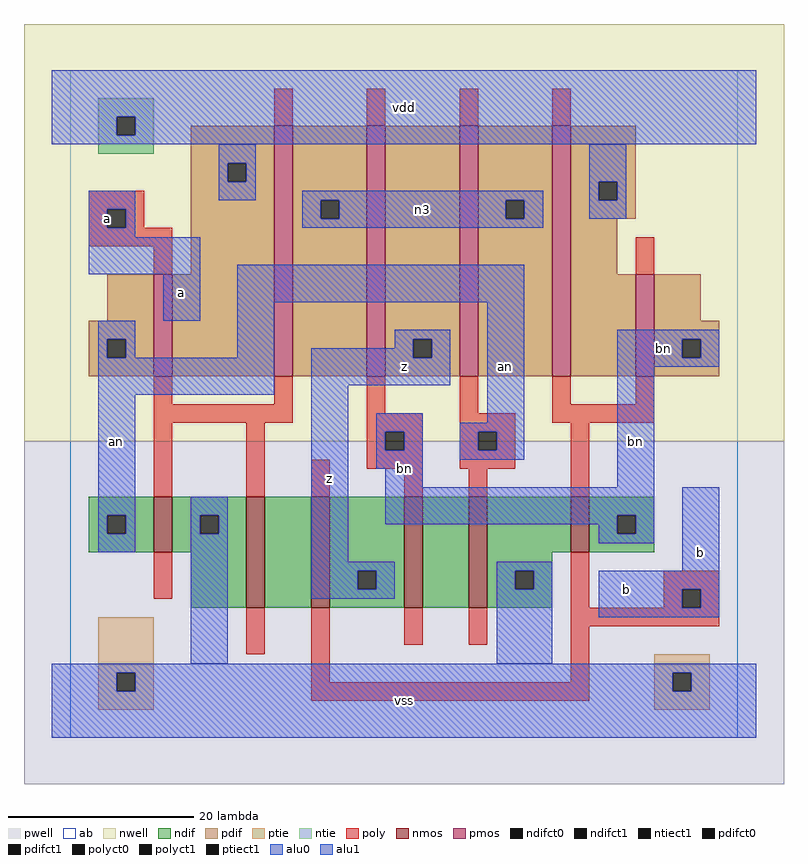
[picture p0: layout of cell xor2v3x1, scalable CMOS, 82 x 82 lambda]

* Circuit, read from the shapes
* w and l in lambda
.subckt xor2v3x1 a an b bn n3 vdd vss z
M1 vss a an vss nfet w=6 l=2
M2 n1 a vss vss nfet w=12 l=2
M3 z b n1 vss nfet w=12 l=2
M4 n2 bn z vss nfet w=12 l=2
M5 vss an n2 vss nfet w=12 l=2
M6 bn b vss vss nfet w=6 l=2
M7 vdd a an vdd pfet w=11 l=2
M8 n3 a vdd vdd pfet w=27 l=2
M9 z bn n3 vdd pfet w=27 l=2
M10 n3 an z vdd pfet w=27 l=2
M11 vdd b n3 vdd pfet w=27 l=2
M12 bn b vdd vdd pfet w=11 l=2
.ends

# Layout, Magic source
magic
tech scmos
<< ab >>
rect 0 0 72 72
<< nwell >>
rect -5 32 77 77
<< pwell >>
rect -5 -5 77 32
<< poly >>
rect 22 66 24 70
rect 32 66 34 70
rect 42 66 44 70
rect 52 66 54 70
rect 2 57 8 59
rect 2 55 4 57
rect 6 55 8 57
rect 2 53 11 55
rect 9 50 11 53
rect 61 50 63 54
rect 9 36 11 39
rect 22 36 24 39
rect 9 34 24 36
rect 32 35 34 39
rect 42 35 44 39
rect 52 36 54 39
rect 61 36 63 39
rect 9 26 11 34
rect 19 26 21 34
rect 32 33 38 35
rect 32 31 34 33
rect 36 31 38 33
rect 26 26 28 30
rect 32 29 38 31
rect 42 33 48 35
rect 52 34 63 36
rect 42 31 44 33
rect 46 31 48 33
rect 42 29 48 31
rect 36 26 38 29
rect 43 26 45 29
rect 54 26 56 34
rect 9 15 11 20
rect 54 14 56 20
rect 64 16 70 18
rect 64 14 66 16
rect 68 14 70 16
rect 19 9 21 14
rect 26 6 28 14
rect 36 10 38 14
rect 43 10 45 14
rect 54 12 70 14
rect 54 6 56 12
rect 26 4 56 6
<< ndif >>
rect 2 24 9 26
rect 2 22 4 24
rect 6 22 9 24
rect 2 20 9 22
rect 11 24 19 26
rect 11 22 14 24
rect 16 22 19 24
rect 11 20 19 22
rect 13 14 19 20
rect 21 14 26 26
rect 28 18 36 26
rect 28 16 31 18
rect 33 16 36 18
rect 28 14 36 16
rect 38 14 43 26
rect 45 20 54 26
rect 56 24 63 26
rect 56 22 59 24
rect 61 22 63 24
rect 56 20 63 22
rect 45 18 52 20
rect 45 16 48 18
rect 50 16 52 18
rect 45 14 52 16
<< pdif >>
rect 13 62 22 66
rect 13 60 17 62
rect 19 60 22 62
rect 13 50 22 60
rect 4 45 9 50
rect 2 43 9 45
rect 2 41 4 43
rect 6 41 9 43
rect 2 39 9 41
rect 11 39 22 50
rect 24 58 32 66
rect 24 56 27 58
rect 29 56 32 58
rect 24 39 32 56
rect 34 43 42 66
rect 34 41 37 43
rect 39 41 42 43
rect 34 39 42 41
rect 44 58 52 66
rect 44 56 47 58
rect 49 56 52 58
rect 44 39 52 56
rect 54 60 61 66
rect 54 58 57 60
rect 59 58 61 60
rect 54 56 61 58
rect 54 50 59 56
rect 54 39 61 50
rect 63 45 68 50
rect 63 43 70 45
rect 63 41 66 43
rect 68 41 70 43
rect 63 39 70 41
<< alu1 >>
rect -2 67 74 72
rect -2 65 5 67
rect 7 65 74 67
rect -2 64 74 65
rect 2 57 7 59
rect 2 55 4 57
rect 6 55 7 57
rect 2 54 7 55
rect 2 50 14 54
rect 10 45 14 50
rect 35 43 41 44
rect 35 42 37 43
rect 26 41 37 42
rect 39 41 41 43
rect 26 38 41 41
rect 26 19 30 38
rect 26 18 35 19
rect 26 16 31 18
rect 33 16 35 18
rect 26 15 35 16
rect 66 18 70 27
rect 57 16 70 18
rect 57 14 66 16
rect 68 14 70 16
rect 57 13 70 14
rect -2 7 74 8
rect -2 5 5 7
rect 7 5 65 7
rect 67 5 74 7
rect -2 0 74 5
<< ptie >>
rect 3 7 9 13
rect 3 5 5 7
rect 7 5 9 7
rect 3 3 9 5
rect 63 7 69 9
rect 63 5 65 7
rect 67 5 69 7
rect 63 3 69 5
<< ntie >>
rect 3 67 9 69
rect 3 65 5 67
rect 7 65 9 67
rect 3 63 9 65
<< nmos >>
rect 9 20 11 26
rect 19 14 21 26
rect 26 14 28 26
rect 36 14 38 26
rect 43 14 45 26
rect 54 20 56 26
<< pmos >>
rect 9 39 11 50
rect 22 39 24 66
rect 32 39 34 66
rect 42 39 44 66
rect 52 39 54 66
rect 61 39 63 50
<< polyct0 >>
rect 34 31 36 33
rect 44 31 46 33
<< polyct1 >>
rect 4 55 6 57
rect 66 14 68 16
<< ndifct0 >>
rect 4 22 6 24
rect 14 22 16 24
rect 59 22 61 24
rect 48 16 50 18
<< ndifct1 >>
rect 31 16 33 18
<< ntiect1 >>
rect 5 65 7 67
<< ptiect1 >>
rect 5 5 7 7
rect 65 5 67 7
<< pdifct0 >>
rect 17 60 19 62
rect 4 41 6 43
rect 27 56 29 58
rect 47 56 49 58
rect 57 58 59 60
rect 66 41 68 43
<< pdifct1 >>
rect 37 41 39 43
<< alu0 >>
rect 16 62 20 64
rect 16 60 17 62
rect 19 60 20 62
rect 16 58 20 60
rect 56 60 60 64
rect 25 58 51 59
rect 25 56 27 58
rect 29 56 47 58
rect 49 56 51 58
rect 56 58 57 60
rect 59 58 60 60
rect 56 56 60 58
rect 25 55 51 56
rect 18 47 49 51
rect 3 43 7 45
rect 3 41 4 43
rect 6 41 7 43
rect 18 41 22 47
rect 3 37 22 41
rect 3 24 7 37
rect 3 22 4 24
rect 6 22 7 24
rect 3 20 7 22
rect 13 24 17 26
rect 13 22 14 24
rect 16 22 17 24
rect 13 8 17 22
rect 33 33 38 35
rect 45 34 49 47
rect 33 31 34 33
rect 36 31 38 33
rect 33 29 38 31
rect 42 33 49 34
rect 42 31 44 33
rect 46 31 49 33
rect 42 30 49 31
rect 59 43 70 44
rect 59 41 66 43
rect 68 41 70 43
rect 59 40 70 41
rect 34 27 38 29
rect 59 27 63 40
rect 34 24 63 27
rect 34 23 59 24
rect 57 22 59 23
rect 61 22 63 24
rect 57 21 63 22
rect 46 18 52 19
rect 46 16 48 18
rect 50 16 52 18
rect 46 8 52 16
<< labels >>
rlabel alu0 5 32 5 32 6 an
rlabel alu0 36 29 36 29 6 bn
rlabel alu0 47 40 47 40 6 an
rlabel alu0 38 57 38 57 6 n3
rlabel alu0 61 32 61 32 6 bn
rlabel alu0 64 42 64 42 6 bn
rlabel alu1 12 48 12 48 6 a
rlabel alu1 4 56 4 56 6 a
rlabel alu1 28 28 28 28 6 z
rlabel alu1 36 4 36 4 6 vss
rlabel alu1 36 40 36 40 6 z
rlabel alu1 36 68 36 68 6 vdd
rlabel alu1 68 20 68 20 6 b
rlabel alu1 60 16 60 16 6 b
<< end >>
